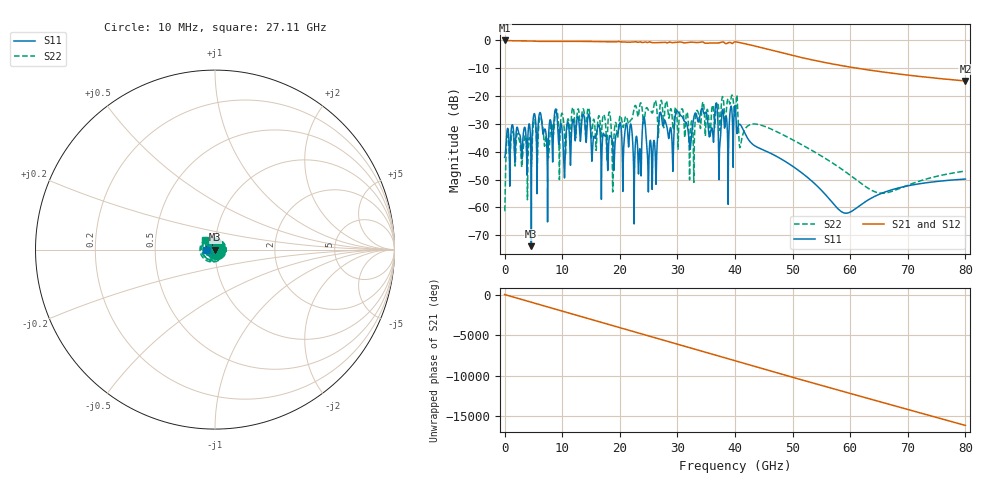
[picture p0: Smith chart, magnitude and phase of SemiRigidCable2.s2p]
# Hz S DB R 50
!Touchstone multiport model file <C:\work\PySI\TestSignalIntegrity\OysterSimulation\ResampledSimbeor\SemiRigidCable2.s2p>
!Created on 22 Aug 18, at 17:55:39.
!Created with Simbeor THz 2018.01(64bit) of Simberian Inc. built on Jul 20 2018
!Output from MultiportParameters of Simbeor.
!Multiport parameters: DataOrigin=Simulation DataOriginName="Project(1).SemiRigidCable2_resampled.LNS"
!RESAMPLED_RCM: Max_RMS_Error=0.0160663; FrqLow=0; FrqHigh=4e+10; MaxTimeResolution=1.25e-11; PassivityState=1; ReciprocityState=1;
!RATIONAL COMPACTOR: Precision: Normal; Extract Delay: ON; Extrapolate to DC: ON; Extrapolate to Infinity: OFF; Enforce Passivity: ON; Enforce Reciprocity: ON; Band Limit Factor: 1; Auto-Adjust Config: OFF
!Uncomment the following lines with keywords in square brakets to support IBIS forum specification 2.0.
![Version] 2.0 !This line should be the first in file, preceeding the line starting with #.
![Number of Ports] 2
![Number of Frequencies] 8001
![Two-Port Data Order] 21_12
![Reference] 50 50
!!!!Multiport descriptor profile: InputCount=2 TotalPortCount=2
!DescriptorOutline={DescriptorType=SMatrix InputSpace=Terminal NormalizationType=CommonZo NormalizationCommonZo=50 Ohm OutputFormat=DBMagnitudeAngle}
!InputProfile={Name="IO1" IsTLineInput=False InputNumber=1 PortCount=1 FirstPortNumber=1 InputSpace=Terminal BlockType=SBlock NormalizationType=CommonZo Zo=50}
!InputProfile={Name="IO2" IsTLineInput=False InputNumber=2 PortCount=1 FirstPortNumber=2 InputSpace=Terminal BlockType=SBlock NormalizationType=CommonZo Zo=50}
!!!Global port number to input_name/local_port_number correspondence:
!Port 1 -> "IO1"/local_port_1 (terminal)
!Port 2 -> "IO2"/local_port_1 (terminal)
!!!!End of descriptor profile.
!Frequency Hz 20.0*log(|S[1,1]|) arg(S[1,1]) 20.0*log(|S[2,1]|) arg(S[2,1]) 20.0*log(|S[1,2]|) arg(S[1,2]) 20.0*log(|S[2,2]|) arg(S[2,2])
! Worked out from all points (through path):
!   8000 points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, 10 MHz to 80 GHz, reference 50 ohm
!   highest |S21| = -0.04 dB at 140 MHz (marker M1); lowest = -14.6 dB at 80 GHz (marker M2)
!   lowest |S11| = -73.9 dB at 4.65 GHz (marker M3), VSWR 1.00, Z = 50 - j0.0111 ohm
!   |S11| at or under -10 dB: start of sweep to end of sweep
!   |S22| runs from -61.2 to -19.6 dB; largest |S21 - S12| = 1.7e-14
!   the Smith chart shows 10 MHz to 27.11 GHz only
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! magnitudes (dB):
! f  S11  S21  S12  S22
! 10 MHz  -42.0  0.0  0.0  -61.1
! 140 MHz  -40.8  0.0  0.0  -50.6
! 1.34 GHz  -30.3  -0.2  -0.2  -33.0
! 4.65 GHz  -73.9  -0.2  -0.2  -44.1
! 10.37 GHz  -48.4  -0.4  -0.4  -32.1
! 13.35 GHz  -30.4  -0.4  -0.4  -28.2
! 18.86 GHz  -40.5  -0.6  -0.6  -42.9
! 19.93 GHz  -30.3  -0.5  -0.5  -28.3
! 23.43 GHz  -39.4  -0.6  -0.6  -24.0
! 24.24 GHz  -27.7  -0.7  -0.7  -29.2
! 25.28 GHz  -35.9  -0.6  -0.6  -25.4
! 26.68 GHz  -31.3  -0.8  -0.8  -34.7
! 29.08 GHz  -36.9  -0.8  -0.8  -27.2
! 30.08 GHz  -25.6  -0.7  -0.7  -37.2
! 32.48 GHz  -33.6  -0.6  -0.6  -28.9
! 33.45 GHz  -28.1  -0.8  -0.8  -25.2
! 40.01 GHz  -23.5  -0.6  -0.6  -27.3
! 41.03 GHz  -30.5  -0.9  -0.9  -37.0
! 53.34 GHz  -50.5  -7.0  -7.0  -39.5
! 59.13 GHz  -62.1  -9.3  -9.3  -47.1
! 66.67 GHz  -54.0  -11.6  -11.6  -54.6
! 80 GHz  -49.8  -14.6  -14.6  -46.9
